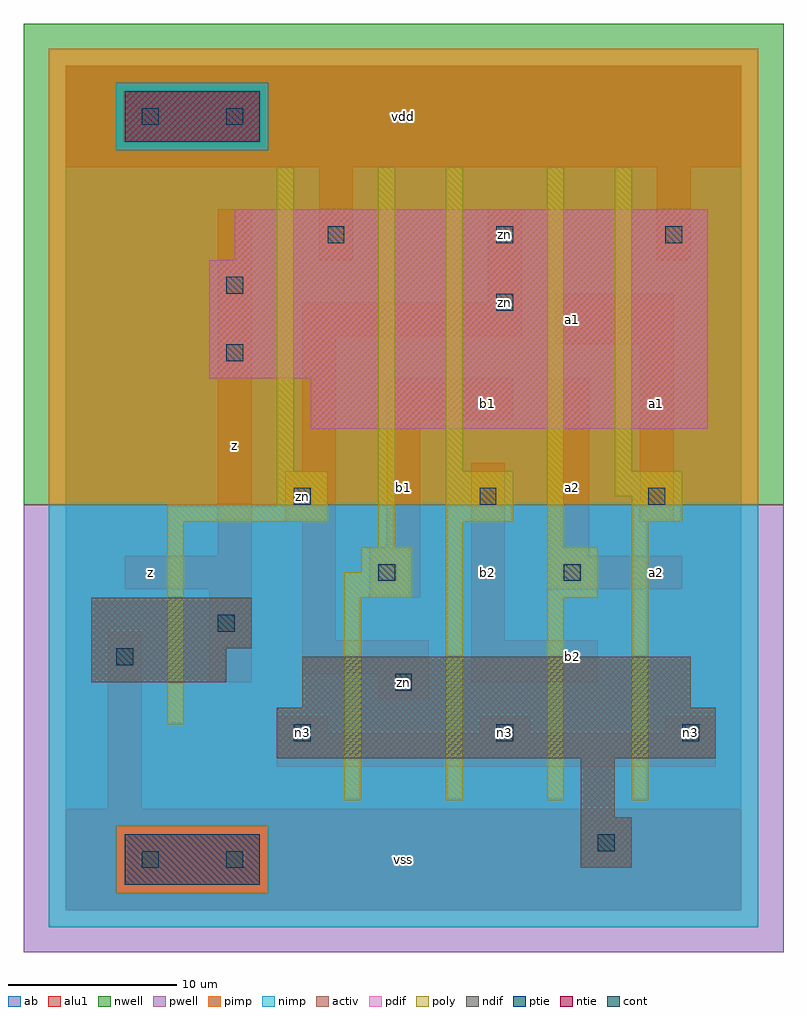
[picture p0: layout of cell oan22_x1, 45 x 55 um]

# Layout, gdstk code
import gdstk
lib = gdstk.Library(unit=1e-6, precision=1e-09)
def R(c, l, rs):  # rectangles x0, y0, x1, y1
    for r in rs: c.add(gdstk.rectangle(r[:2], r[2:], *l))
def A(c, l, x, y, w, h, nx, ny, dx, dy):  # array of equal rectangles
    R(c, l, [(x+i*dx, y+j*dy, x+i*dx+w, y+j*dy+h) for i in range(nx) for j in range(ny)])
ndif = (3, 0)
pdif = (4, 0)
ntie = (5, 0)
ptie = (6, 0)
cont = (25, 0)
pwell = (41, 0)
nwell = (42, 0)
activ = (43, 0)
pimp = (44, 0)
nimp = (45, 0)
poly = (46, 0)
alu1 = (49, 0)
ab = (63, 0)

oan22_x1 = lib.new_cell('oan22_x1')
R(oan22_x1, ndif, [(30.5,2.5,33.5,5.5), (30.5,5.5,32.5,9), (12.5,9,38.5,12), (14,12,37,15), (1.5,13.5,9.5,15.5), (1.5,15.5,11,18.5)])
R(oan22_x1, pdif, [(14.5,28.5,38,31.5), (8.5,31.5,38,38.5), (10,38.5,38,41.5)])
R(oan22_x1, ntie, [(3.5,45.5,11.5,48.5)])
R(oan22_x1, ptie, [(3.5,1.5,11.5,4.5)])
A(oan22_x1, cont, 15.5, 39.5, 1, 1, 3, 1, 10, 0)
R(oan22_x1, cont, [(4.5,2.5,5.5,3.5), (9.5,2.5,10.5,3.5), (31.5,3.5,32.5,4.5), (13.5,10,14.5,11), (25.5,10,26.5,11), (36.5,10,37.5,11), (19.5,13,20.5,14), (3,14.5,4,15.5), (9,16.5,10,17.5), (18.5,19.5,19.5,20.5), (29.5,19.5,30.5,20.5), (13.5,24,14.5,25), (24.5,24,25.5,25), (34.5,24,35.5,25), (9.5,32.5,10.5,33.5), (25.5,35.5,26.5,36.5), (9.5,36.5,10.5,37.5), (4.5,46.5,5.5,47.5), (9.5,46.5,10.5,47.5)])
R(oan22_x1, pwell, [(-2.5,-2.5,42.5,24)])
R(oan22_x1, nwell, [(-2.5,24,42.5,52.5)])
R(oan22_x1, activ, [(3.5,1.5,11.5,4.5), (30.5,2.5,33.5,5.5), (30.5,5.5,32.5,9), (12.5,9,38.5,12), (14,12,37,15), (1.5,13.5,9.5,15.5), (1.5,15.5,11,18.5), (14.5,28.5,38,31.5), (8.5,31.5,38,38.5), (10,38.5,38,41.5), (3.5,45.5,11.5,48.5)])
R(oan22_x1, pimp, [(3,1,12,5), (-1,24,41,45), (-1,45,3,49), (12,45,41,49), (-1,49,41,51)])
R(oan22_x1, nimp, [(-1,-1,41,1), (-1,1,3,5), (12,1,41,5), (-1,5,41,24), (3,45,12,49)])
A(oan22_x1, poly, 12.5, 26, 1, 18, 3, 1, 10, 0)
R(oan22_x1, poly, [(16.5,6.5,17.5,18.5), (22.5,6.5,23.5,23), (28.5,6.5,29.5,18.5), (33.5,6.5,34.5,23), (6,11,7,23), (16.5,18.5,20.5,20), (28.5,18.5,31.5,21.5), (17.5,20,20.5,21.5), (18.5,21.5,19.5,44), (28.5,21.5,29.5,44), (6,23,15.5,24), (22.5,23,26.5,26), (33.5,23,36.5,24.5), (12.5,24,15.5,26), (32.5,24.5,36.5,26)])
R(oan22_x1, alu1, [(0,0,40,6), (0,0,40,6), (2.5,6,4.5,16.5), (2.5,6,4.5,16.5), (12.5,8.5,38.5,10.5), (12.5,8.5,38.5,10.5), (12.5,10.5,15.5,11.5), (12.5,10.5,15.5,11.5), (24.5,10.5,27.5,11.5), (24.5,10.5,27.5,11.5), (35.5,10.5,38.5,11.5), (35.5,10.5,38.5,11.5), (18.5,12.5,21.5,14), (18.5,12.5,21.5,14), (8.5,13.5,11,19), (8.5,13.5,11,19), (24,13.5,31.5,16), (24,13.5,31.5,16), (14,14,21.5,16), (14,14,21.5,16), (14,16,16,23), (14,16,16,23), (24,16,26,26.5), (24,16,26,26.5), (18,18.5,21,21.5), (18,18.5,21,21.5), (3.5,19,11,21), (3.5,19,11,21), (28.5,19,36.5,21), (28.5,19,36.5,21), (9,21,11,41.5), (9,21,11,41.5), (28.5,21,31,31.5), (28.5,21,31,31.5), (19,21.5,21,29), (19,21.5,21,29), (13,23,16,26), (13,23,16,26), (34,23,36,33.5), (34,23,36,33.5), (14,26,16,34), (14,26,16,34), (19,29,26.5,31.5), (19,29,26.5,31.5), (29,33.5,36,36.5), (29,33.5,36,36.5), (14,34,27,36), (14,34,27,36), (25,36,27,41.5), (25,36,27,41.5), (15,38.5,17,44), (15,38.5,17,44), (35,38.5,37,44), (35,38.5,37,44), (0,44,40,50), (0,44,40,50)])
R(oan22_x1, ab, [(0,0,40,50)])
oan22_x1.add(gdstk.Label('n3', (14,10.5), layer=49, texttype=0))
oan22_x1.add(gdstk.Label('zn', (14,24.5), layer=49, texttype=0))
oan22_x1.add(gdstk.Label('n3', (26,10.5), layer=49, texttype=0))
oan22_x1.add(gdstk.Label('zn', (20,13.5), layer=49, texttype=0))
oan22_x1.add(gdstk.Label('zn', (26,36), layer=49, texttype=0))
oan22_x1.add(gdstk.Label('zn', (26,40), layer=49, texttype=0))
oan22_x1.add(gdstk.Label('n3', (37,10.5), layer=49, texttype=0))
oan22_x1.add(gdstk.Label('z', (5,20), layer=49, texttype=0))
oan22_x1.add(gdstk.Label('z', (10,27.5), layer=49, texttype=0))
oan22_x1.add(gdstk.Label('vss', (20,3), layer=49, texttype=0))
oan22_x1.add(gdstk.Label('b2', (25,20), layer=49, texttype=0))
oan22_x1.add(gdstk.Label('b1', (20,25), layer=49, texttype=0))
oan22_x1.add(gdstk.Label('b1', (25,30), layer=49, texttype=0))
oan22_x1.add(gdstk.Label('vdd', (20,47), layer=49, texttype=0))
oan22_x1.add(gdstk.Label('b2', (30,15), layer=49, texttype=0))
oan22_x1.add(gdstk.Label('a2', (35,20), layer=49, texttype=0))
oan22_x1.add(gdstk.Label('a2', (30,25), layer=49, texttype=0))
oan22_x1.add(gdstk.Label('a1', (30,35), layer=49, texttype=0))
oan22_x1.add(gdstk.Label('a1', (35,30), layer=49, texttype=0))

lib.write_gds('oan22_x1.gds')
